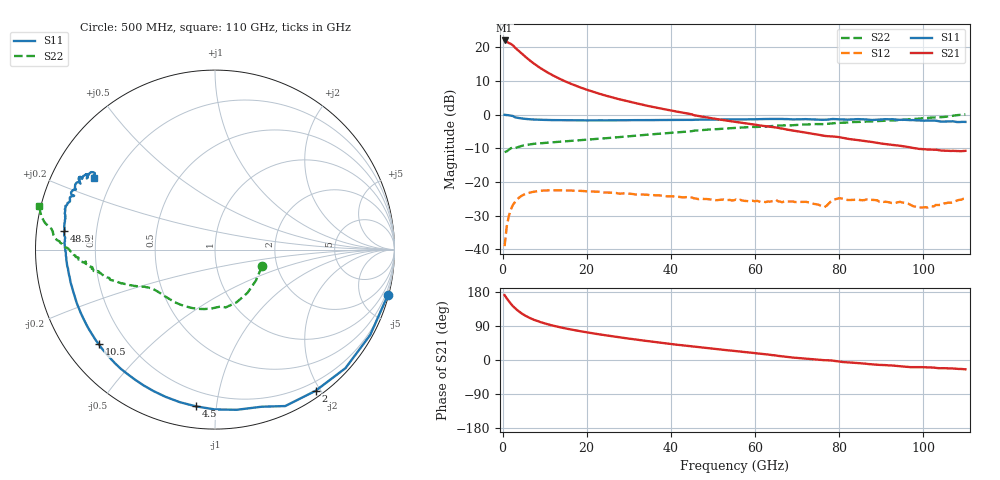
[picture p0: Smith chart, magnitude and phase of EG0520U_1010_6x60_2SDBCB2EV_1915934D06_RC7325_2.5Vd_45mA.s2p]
!File name = EG0520U_1010_6x60_2SDBCB2EV_1915934D06_RC7325_2.5Vd_45mA.s2p
!Base file name = EG0520U_1010_6x60_2SDBCB2EV_1915934D06_RC7325
!Date = 8/23/2019
!Time = 1:08 PM
!Test duration(min) = 0.15
!Test = S-Parameters
!MPTS version = 8.91.5
!State File = C:\Data\PNA\20190821205423\S-Parameters_2019-08-23.sta
!Cal File =
!ComputerName = CMPE-LAB-6
!Comments =
!Attenuation = 0
!Z0 = 50
!Input Power(dBm) = -13.00
!Device ID = EG0520U_1010_6x60_2SDBCB2EV
!Row = 73
!Column = 25
!Technology = QPHT09
!Lot/Wafer = 1915934D06
!Gate Size = 360
!Mask = EG0520
!Cal Standards = GaAs BCB
!Cal Kit = EG2306
!Job Number = 20190821205423
!Device Type = FET
!set_Vg(v) = -1.500
!set_Vd(v) = 2.500
!set_Vd(mA) = 45.000
!file_name = EG0520U_1010_6x60_2SDBCB2EV_1915934D06_RC7325_2.5Vd_45mA.s2p
!Vd(V) = 2.500
!Vd(mA) = 45.037
!Vg(V) = -0.485
!Vg(mA) = -0.001
# GHz  S  DB  R  50
!%	Freq(GHz)  s11(dB)  s11(deg)  s21(dB)  s21(deg)  s12(dB)  s12(deg)  s22(dB)  s22(deg)
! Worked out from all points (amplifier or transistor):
!   220 points, 500 MHz to 110 GHz, reference 50 ohm
!   highest |S21| = 22.0 dB at 500 MHz (marker M1)
!   |S21| within 3 dB of that: start of sweep to 3.756 GHz
!   unconditionally stable (mu >= 1): 34.87 GHz to 105.3 GHz
!   at 18.5 GHz: K = 0.51, MSG = 15.4 dB, |S12| = -22.6 dB
!   at 55.5 GHz: K = 1.43, MAG = 7.6 dB, |S12| = -25.2 dB
!   at 110 GHz: K = -1.06, MSG = 7.1 dB, |S12| = -24.8 dB
!   S11 on the Smith chart (normalised r, x): 500 MHz: 0.11, -7.82; 2 GHz: 0.08, -1.94; 4.5 GHz: 0.11, -0.88; 10.5 GHz: 0.10, -0.35; 48.5 GHz: 0.08, +0.06; 110 GHz: 0.13, +0.27
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0.5  -0.03 -14.6  22.04 171.2  -39.02 81.6  -11.12 -19.7
1  -0.11 -28.8  21.62 162.7  -33.25 73.9  -10.87 -37.3
2  -0.30 -54.5  20.99 148.1  -28.09 59.7  -9.96 -68.0
2.5  -0.40 -65.8  20.56 141.8  -26.71 53.9  -9.70 -79.5
3  -0.79 -73.5  19.88 136.8  -25.88 49.7  -9.94 -84.5
3.5  -0.91 -82.3  19.32 131.7  -25.12 45.3  -9.69 -92.7
4.5  -1.11 -96.9  18.20 123.3  -24.12 37.9  -9.28 -105.9
5.5  -1.26 -108.5  17.11 116.4  -23.51 32.3  -9.03 -115.6
7  -1.41 -121.7  15.60 108.3  -22.97 25.8  -8.72 -125.7
8.5  -1.48 -131.2  14.27 102.0  -22.65 21.3  -8.55 -132.0
10.5  -1.56 -140.8  12.69 95.0  -22.48 16.4  -8.33 -138.3
14  -1.64 -152.3  10.41 85.6  -22.45 10.7  -7.98 -144.7
19  -1.68 -162.3  7.87 75.0  -22.66 5.7  -7.50 -149.5
26.5  -1.66 -171.5  4.99 61.9  -23.19 2.2  -6.75 -153.4
37  -1.58 -179.5  1.99 46.4  -23.91 1.1  -5.67 -157.7
48.5  -1.45 173.1  -0.79 31.6  -25.03 1.8  -4.47 -163.3
55.5  -1.40 169.1  -2.14 23.5  -25.18 2.7  -3.92 -166.5
73.5  -1.40 159.6  -5.63 1.9  -26.36 -4.3  -2.79 -173.8
80  -1.39 157.0  -6.67 -4.2  -24.81 -0.3  -2.42 -175.6
92  -1.38 151.7  -8.87 -14.3  -26.04 -17.0  -1.72 179.5
101  -1.74 150.5  -10.34 -19.3  -27.58 -15.0  -0.94 175.4
110  -2.14 149.5  -10.73 -24.6  -24.84 -14.8  0.10 166.0
